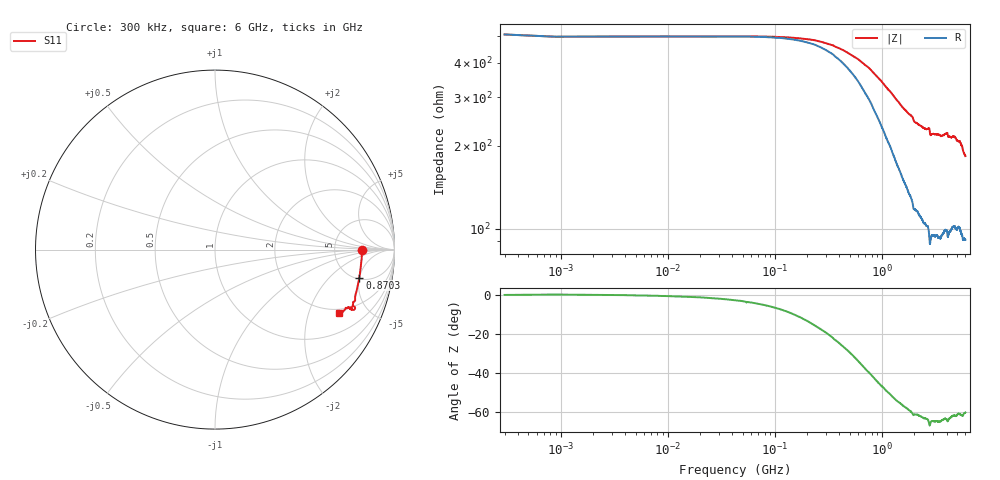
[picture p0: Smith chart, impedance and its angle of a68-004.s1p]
!  3/12/2021  10:03:42
! Ref Plane: 23.990 mm
# MHZ S MA R  50
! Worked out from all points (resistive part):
!   10001 points, 300 kHz to 6 GHz, reference 50 ohm
!   read as one part to ground: R = 499 ohm at 30.3 MHz
!   S11 on the Smith chart (normalised r, x): 300 kHz: 10, +0; 870.3 MHz: 5.25, -4.98; 6 GHz: 1.83, -3.19
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0.3  0.8205 0.0
383.0809  0.8175 -5.1
750.2625  0.8187 -9.6
870.2565  0.8191 -11.0
1116.844  0.8198 -13.6
1500.225  0.8214 -16.9
1934.603  0.83 -19.7
1986.801  0.8276 -20.4
2250.188  0.8257 -21.3
2626.369  0.8294 -22.2
2709.765  0.8349 -22.2
2761.962  0.8445 -22.5
2807.56  0.8404 -23.6
2854.357  0.831 -23.6
3000.15  0.8301 -23.3
3513.724  0.8286 -23.8
3750.113  0.8227 -23.4
4011.099  0.8244 -23.0
4072.896  0.8296 -23.2
4189.291  0.8204 -23.8
4500.075  0.8118 -23.4
4677.066  0.8097 -23.3
4868.457  0.8097 -23.6
5075.446  0.8001 -24.0
5250.038  0.7986 -24.1
5573.421  0.7963 -25.2
5706.615  0.79 -26.2
6000  0.773 -27.0
